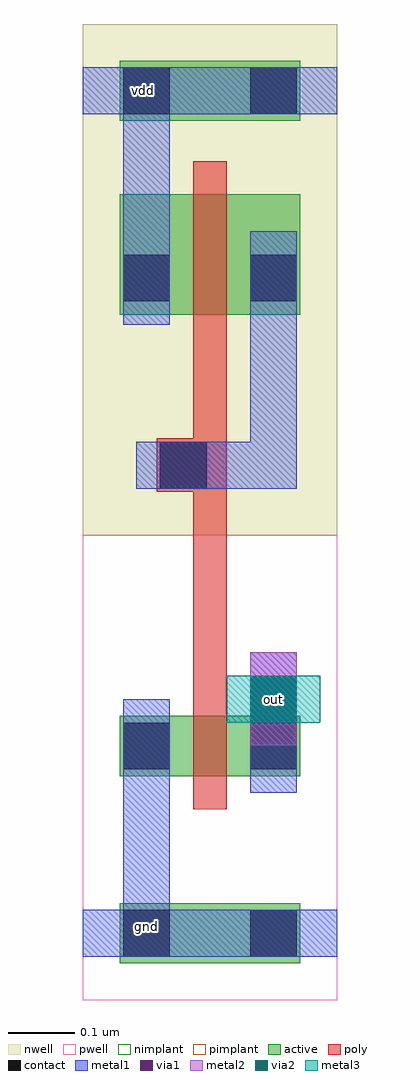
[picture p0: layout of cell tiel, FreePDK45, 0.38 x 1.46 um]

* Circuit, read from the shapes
.subckt tiel gnd out vdd
M1 out n1 gnd gnd nfet w=0.09u l=0.05u
M2 n1 n1 vdd vdd pfet w=0.18u l=0.05u
.ends

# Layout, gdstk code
import gdstk
lib = gdstk.Library(unit=1e-6, precision=5e-10)
def R(c, l, rs):  # rectangles x0, y0, x1, y1
    for r in rs: c.add(gdstk.rectangle(r[:2], r[2:], *l))
active = (1, 0)
pwell = (2, 0)
nwell = (3, 0)
nimplant = (4, 0)
pimplant = (5, 0)
poly = (9, 0)
contact = (10, 0)
metal1 = (11, 0)
via1 = (12, 0)
metal2 = (13, 0)
via2 = (14, 0)
metal3 = (15, 0)

tiel = lib.new_cell('tiel')
R(tiel, active, [(0.055,-0.045,0.325,0.045), (0.055,0.235,0.325,0.325), (0.055,0.925,0.325,1.105), (0.055,1.215,0.325,1.305)])
R(tiel, pwell, [(0,-0.1,0.38,0.595)])
R(tiel, nwell, [(0,0.595,0.38,1.36)])
R(tiel, nimplant, [(0.055,0.235,0.325,0.325), (0.055,1.215,0.325,1.305)])
R(tiel, pimplant, [(0.055,-0.045,0.325,0.045), (0.055,0.925,0.325,1.105)])
R(tiel, poly, [(0.165,0.185,0.215,1.155), (0.11,0.66,0.165,0.74)])
R(tiel, contact, [(0.06,-0.035,0.13,0.035), (0.25,-0.035,0.32,0.035), (0.06,0.245,0.13,0.315), (0.25,0.245,0.32,0.315), (0.115,0.665,0.185,0.735), (0.06,0.945,0.13,1.015), (0.25,0.945,0.32,1.015), (0.06,1.225,0.13,1.295), (0.25,1.225,0.32,1.295)])
R(tiel, metal1, [(0,-0.035,0.38,0.035), (0.06,0.035,0.13,0.35), (0.25,0.21,0.32,0.42), (0.08,0.665,0.25,0.735), (0.25,0.665,0.32,1.05), (0.06,0.91,0.13,1.225), (0,1.225,0.38,1.295)])
R(tiel, via1, [(0.25,0.315,0.32,0.385)])
R(tiel, metal2, [(0.25,0.28,0.32,0.42)])
R(tiel, via2, [(0.25,0.315,0.32,0.385)])
R(tiel, metal3, [(0.215,0.315,0.355,0.385)])
tiel.add(gdstk.Label('gnd', (0.095,0.01), layer=11, texttype=0))
tiel.add(gdstk.Label('vdd', (0.09,1.26), layer=11, texttype=0))
tiel.add(gdstk.Label('out', (0.285,0.35), layer=15, texttype=0))

lib.write_gds('tiel.gds')
